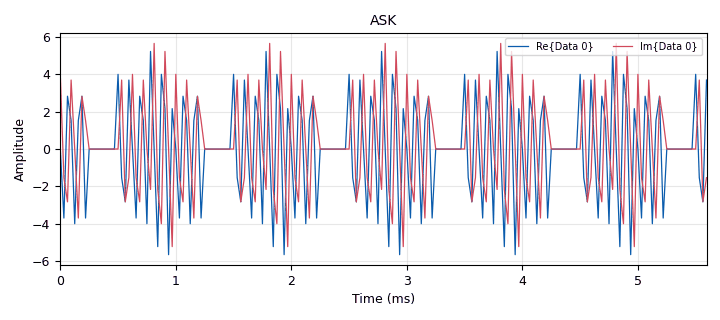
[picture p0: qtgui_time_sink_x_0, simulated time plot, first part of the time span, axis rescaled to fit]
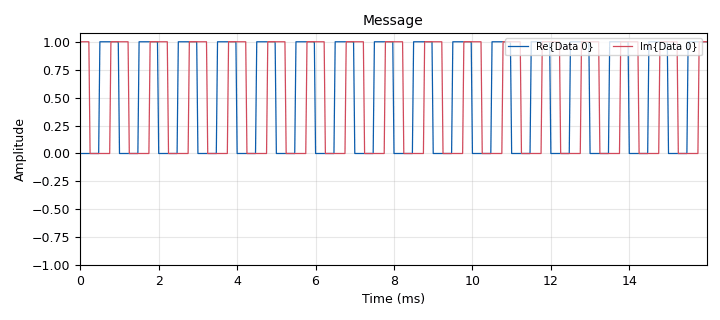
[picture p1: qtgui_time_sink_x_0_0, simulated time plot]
<?xml version='1.0' encoding='utf-8'?>
<?grc format='1' created='3.7.9'?>
<flow_graph>
<block>
<key>options</key>
<param><key>id</key><value>top_block</value></param>
<param><key>category</key><value>Custom</value></param>
<param><key>generate_options</key><value>qt_gui</value></param>
</block>
<block>
<key>variable</key>
<param><key>id</key><value>numpoints</value></param>
<param><key>value</key><value>512</value></param>
</block>
<block>
<key>variable</key>
<param><key>id</key><value>samp_rate</value></param>
<param><key>value</key><value>32000</value></param>
</block>
<block>
<key>analog_sig_source_x</key>
<param><key>id</key><value>Carrier</value></param>
<param><key>amp</key><value>4</value></param>
<param><key>freq</key><value>10000</value></param>
<param><key>offset</key><value>0</value></param>
<param><key>type</key><value>complex</value></param>
<param><key>samp_rate</key><value>samp_rate</value></param>
<param><key>waveform</key><value>analog.GR_COS_WAVE</value></param>
</block>
<block>
<key>analog_sig_source_x</key>
<param><key>id</key><value>Message</value></param>
<param><key>amp</key><value>1</value></param>
<param><key>freq</key><value>1000</value></param>
<param><key>offset</key><value>0</value></param>
<param><key>type</key><value>complex</value></param>
<param><key>samp_rate</key><value>samp_rate</value></param>
<param><key>waveform</key><value>analog.GR_SQR_WAVE</value></param>
</block>
<block>
<key>blocks_multiply_xx</key>
<param><key>id</key><value>blocks_multiply_xx_0</value></param>
<param><key>type</key><value>complex</value></param>
</block>
<block>
<key>qtgui_time_sink_x</key>
<param><key>id</key><value>qtgui_time_sink_x_0</value></param>
<param><key>color1</key><value>"blue"</value></param>
<param><key>label1</key><value></value></param>
<param><key>color2</key><value>"red"</value></param>
<param><key>label2</key><value></value></param>
<param><key>name</key><value>ASK</value></param>
<param><key>size</key><value>numpoints</value></param>
<param><key>srate</key><value>samp_rate</value></param>
<param><key>type</key><value>complex</value></param>
</block>
<block>
<key>qtgui_time_sink_x</key>
<param><key>id</key><value>qtgui_time_sink_x_0_0</value></param>
<param><key>color1</key><value>"blue"</value></param>
<param><key>label1</key><value></value></param>
<param><key>color2</key><value>"red"</value></param>
<param><key>label2</key><value></value></param>
<param><key>name</key><value>Message</value></param>
<param><key>size</key><value>numpoints</value></param>
<param><key>srate</key><value>samp_rate</value></param>
<param><key>type</key><value>complex</value></param>
</block>
<connection><source_block_id>Carrier</source_block_id><sink_block_id>blocks_multiply_xx_0</sink_block_id><source_key>0</source_key><sink_key>1</sink_key></connection>
<connection><source_block_id>Message</source_block_id><sink_block_id>blocks_multiply_xx_0</sink_block_id><source_key>0</source_key><sink_key>0</sink_key></connection>
<connection><source_block_id>Message</source_block_id><sink_block_id>qtgui_time_sink_x_0_0</sink_block_id><source_key>0</source_key><sink_key>0</sink_key></connection>
<connection><source_block_id>blocks_multiply_xx_0</source_block_id><sink_block_id>qtgui_time_sink_x_0</sink_block_id><source_key>0</source_key><sink_key>0</sink_key></connection>
</flow_graph>
